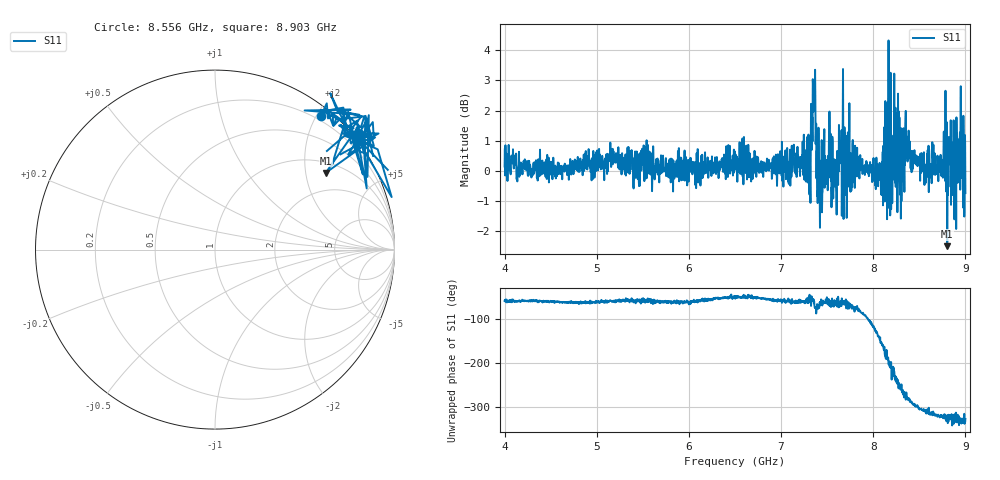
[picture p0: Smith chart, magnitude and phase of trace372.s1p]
! Created with skrf 1.8.0 (http://scikit-rf.org).
# Hz S RI R 50.0
!freq ReS11 ImS11
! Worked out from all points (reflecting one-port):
!   1601 points, 4 GHz to 9 GHz, reference 50 ohm
!   lowest |S11| = -2.5 dB at 8.803 GHz (marker M1), VSWR 7.01, Z = 66.3 + j130 ohm
!   phase of S11 starts at -58 deg and turns -271 deg over the sweep
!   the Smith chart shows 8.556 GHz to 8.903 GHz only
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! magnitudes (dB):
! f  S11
! 4 GHz  0.1
! 4.625 GHz  -0.3
! 5.25 GHz  0.1
! 5.875 GHz  0.4
! 6.5 GHz  0.6
! 7.125 GHz  0.1
! 7.294 GHz  0.8
! 7.316 GHz  -0.5
! 7.35 GHz  2.0
! 7.369 GHz  3.3
! 7.412 GHz  -1.0
! 7.519 GHz  0.9
! 7.588 GHz  0.2
! 7.65 GHz  0.9
! 7.75 GHz  0.0
! 8.069 GHz  0.3
! 8.128 GHz  1.1
! 8.153 GHz  0.7
! 8.178 GHz  3.1
! 8.197 GHz  -0.8
! 8.244 GHz  -0.5
! 8.312 GHz  1.2
! 8.375 GHz  0.5
! 8.556 GHz  -0.5
! 8.803 GHz  -2.5
! 8.875 GHz  0.5
! 8.959 GHz  1.7
! 9 GHz  -0.7
